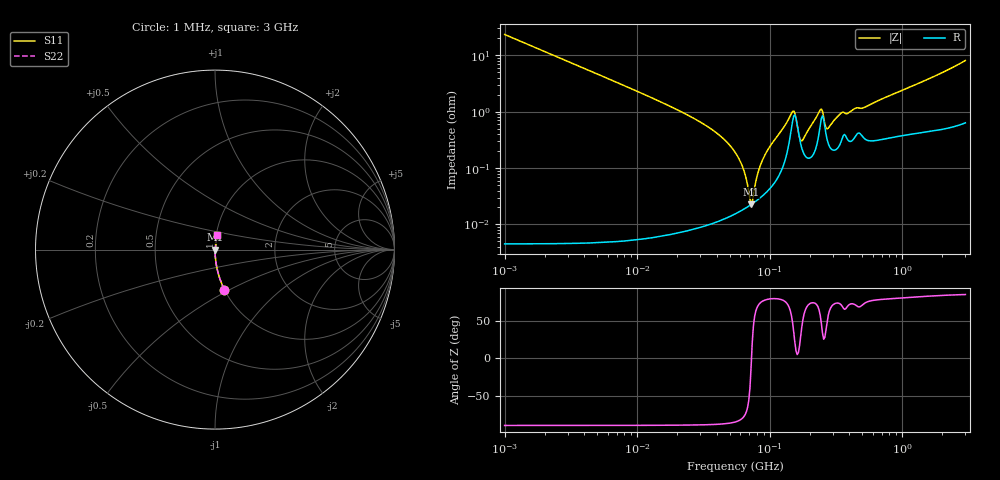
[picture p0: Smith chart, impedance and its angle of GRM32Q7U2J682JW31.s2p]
!Murata Part Number: GRM32Q7U2J682JW31
!These Parameters are Measured in Series Mode Connection
!Data Generated on Mar 30, 2021
!  o--ll--o
!Port1  Port2
!  o------o
!Operation Temp=25[degC], DC Bias Voltage=0[V]
!Freq. Start=1000[kHz] Stop=3[GHz] 401[Steps]
# Hz S RI R 50
!Freq.(Hz) S11(Real) S11(Imag) S21(Real) S21(Imag) S12(Real) S12(Imag) S22(Real) S22(Imag)
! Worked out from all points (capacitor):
!   401 points, 1 MHz to 3 GHz, reference 50 ohm
!   read as one part in series: C = 6.77 nF near 1.041 MHz
!   lowest |Z| = 23 mohm at 72.49 MHz (marker M1)
!   series resonance near 72.95 MHz, so ESL is about 700 pH
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1000000  0.0524 -0.2226  0.9476 0.2226  0.9476 0.2226  0.0524 -0.2226
3823119  0.00379 -0.0611  0.9962 0.0611  0.9962 0.0611  0.00379 -0.0611
1.461624e7  0.000299 -0.0154  0.9997 0.0154  0.9997 0.0154  0.000299 -0.0154
3.526298e7  0.000126 -0.00515  0.9999 0.00515  0.9999 0.00515  0.000126 -0.00515
5.477226e7  0.000157 -0.00192  0.9998 0.00192  0.9998 0.00192  0.000157 -0.00192
6.301011e7  0.000184 -0.00098  0.9998 0.00098  0.9998 0.00098  0.000184 -0.00098
7.248696e7  0.000226 -4.26e-05  0.9998 4.26e-05  0.9998 4.26e-05  0.000226 -4.26e-05
7.544761e7  0.000241 0.00023  0.9998 -0.00023  0.9998 -0.00023  0.000241 0.00023
8.173662e7  0.000277 0.000787  0.9997 -0.000787  0.9997 -0.000787  0.000277 0.000787
9.034013e7  0.00034 0.00152  0.9997 -0.00152  0.9997 -0.00152  0.00034 0.00152
1.460522e8  0.0051 0.00778  0.9949 -0.00778  0.9949 -0.00778  0.0051 0.00778
1.550909e8  0.00873 0.0033  0.9913 -0.0033  0.9913 -0.0033  0.00873 0.0033
1.680187e8  0.00335 0.000986  0.9967 -0.000986  0.9967 -0.000986  0.00335 0.000986
1.748812e8  0.00225 0.00203  0.9977 -0.00203  0.9977 -0.00203  0.00225 0.00203
2.094008e8  0.00166 0.00585  0.9983 -0.00585  0.9983 -0.00585  0.00166 0.00585
2.408952e8  0.00583 0.00902  0.9942 -0.00902  0.9942 -0.00902  0.00583 0.00902
2.507343e8  0.00844 0.00549  0.9916 -0.00549  0.9916 -0.00549  0.00844 0.00549
2.662515e8  0.00401 0.00317  0.996 -0.00317  0.996 -0.00317  0.00401 0.00317
2.771263e8  0.00272 0.00433  0.9973 -0.00433  0.9973 -0.00433  0.00272 0.00433
3.453811e8  0.00299 0.00892  0.997 -0.00892  0.997 -0.00892  0.00299 0.00892
8.005644e8  0.00376 0.0188  0.9962 -0.0188  0.9962 -0.0188  0.00376 0.0188
3e9  0.0127 0.0794  0.9873 -0.0794  0.9873 -0.0794  0.0127 0.0794
